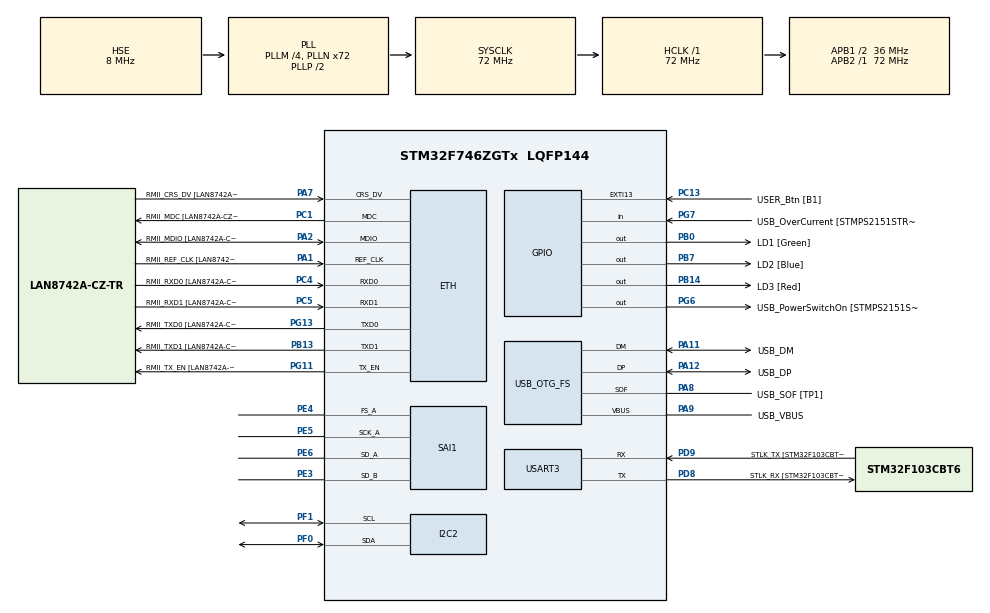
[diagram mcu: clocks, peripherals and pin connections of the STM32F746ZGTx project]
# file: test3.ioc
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ETH.MediaInterface=HAL_ETH_RMII_MODE
ETH.PHY_Name=LAN8742A_PHY_ADDRESS
ETH.PHY_Value=0
ETH.PhyAddress=0
I2C2.Timing=0x00808CD2
Mcu.Family=STM32F7
Mcu.Name=STM32F746ZGTx
Mcu.Package=LQFP144
NVIC.PriorityGroup=NVIC_PRIORITYGROUP_4
PA1.GPIO_Label=RMII_REF_CLK [LAN8742A-CZ-TR_REFCLK0]
PA1.Mode=RMII
PA1.Signal=ETH_REF_CLK
PA10.GPIO_Label=USB_ID
PA10.Signal=USB_OTG_FS_ID
PA11.GPIO_Label=USB_DM
PA11.Mode=Device_Only
PA11.Signal=USB_OTG_FS_DM
PA12.GPIO_Label=USB_DP
PA12.Mode=Device_Only
PA12.Signal=USB_OTG_FS_DP
PA13.GPIO_Label=TMS
PA13.Mode=Serial_Wire
PA13.Signal=SYS_JTMS-SWDIO
PA14.GPIO_Label=TCK
PA14.Mode=Serial_Wire
PA14.Signal=SYS_JTCK-SWCLK
PA2.GPIO_Label=RMII_MDIO [LAN8742A-CZ-TR_MDIO]
PA2.Mode=RMII
PA2.Signal=ETH_MDIO
PA7.GPIO_Label=RMII_CRS_DV [LAN8742A-CZ-TR_CRS_DV]
PA7.Mode=RMII
PA7.Signal=ETH_CRS_DV
PA8.GPIO_Label=USB_SOF [TP1]
PA8.Mode=Activate_SOF_FS
PA8.Signal=USB_OTG_FS_SOF
PA9.GPIO_Label=USB_VBUS
PA9.Mode=Activate_VBUS
PA9.Signal=USB_OTG_FS_VBUS
PB0.GPIO_Label=LD1 [Green]
PB0.Signal=GPIO_Output
PB13.GPIO_Label=RMII_TXD1 [LAN8742A-CZ-TR_TXD1]
PB13.Mode=RMII
PB13.Signal=ETH_TXD1
PB14.GPIO_Label=LD3 [Red]
PB14.Signal=GPIO_Output
PB3.GPIO_Label=SW0
PB3.Signal=SYS_JTDO-SWO
PB7.GPIO_Label=LD2 [Blue]
PB7.Signal=GPIO_Output
PC1.GPIO_Label=RMII_MDC [LAN8742A-CZ-TR_MDC]
PC1.Mode=RMII
PC1.Signal=ETH_MDC
PC13.GPIO_Label=USER_Btn [B1]
PC13.Signal=GPXTI13
PC14/OSC32_IN.Mode=LSE-External-Oscillator
PC14/OSC32_IN.Signal=RCC_OSC32_IN
PC15/OSC32_OUT.Mode=LSE-External-Oscillator
PC15/OSC32_OUT.Signal=RCC_OSC32_OUT
PC4.GPIO_Label=RMII_RXD0 [LAN8742A-CZ-TR_RXD0]
PC4.Mode=RMII
PC4.Signal=ETH_RXD0
PC5.GPIO_Label=RMII_RXD1 [LAN8742A-CZ-TR_RXD1]
PC5.Mode=RMII
PC5.Signal=ETH_RXD1
PD8.GPIO_Label=STLK_RX [STM32F103CBT6_PA3]
PD8.GPIO_PuPd=GPIO_PULLUP
PD8.Mode=Asynchronous
PD8.Signal=USART3_TX
PD9.GPIO_Label=STLK_TX [STM32F103CBT6_PA2]
PD9.GPIO_PuPd=GPIO_PULLUP
PD9.Mode=Asynchronous
PD9.Signal=USART3_RX
PE3.Mode=SAI_B_SyncSlave
PE3.Signal=SAI1_SD_B
PE4.Mode=SAI_A_AsyncSlave
PE4.Signal=SAI1_FS_A
PE5.Mode=SAI_A_AsyncSlave
PE5.Signal=SAI1_SCK_A
PE6.Mode=SAI_A_AsyncSlave
PE6.Signal=SAI1_SD_A
PF0.Mode=I2C
PF0.Signal=I2C2_SDA
PF1.Mode=I2C
PF1.Signal=I2C2_SCL
PG11.GPIO_Label=RMII_TX_EN [LAN8742A-CZ-TR_TXEN]
PG11.Mode=RMII
PG11.Signal=ETH_TX_EN
PG13.GPIO_Label=RMII_TXD0 [LAN8742A-CZ-TR_TXD0]
PG13.Mode=RMII
PG13.Signal=ETH_TXD0
PG6.GPIO_Label=USB_PowerSwitchOn [STMPS2151STR_EN]
PG6.Signal=GPIO_Output
PG7.GPIO_Label=USB_OverCurrent [STMPS2151STR_FAULT]
PG7.Signal=GPIO_Input
PH0/OSC_IN.GPIO_Label=MCO [STM32F103CBT6_PA8]
PH0/OSC_IN.Mode=HSE-External-Clock-Source
PH0/OSC_IN.Signal=RCC_OSC_IN
PH1/OSC_OUT.Mode=HSE-External-Clock-Source
PH1/OSC_OUT.Signal=RCC_OSC_OUT
ProjectManager.HeapSize=0x200
ProjectManager.StackSize=0x400
ProjectManager.TargetToolchain=STM32CubeIDE
RCC.48MHZClocksFreq_Value=24000000
RCC.AHBFreq_Value=72000000
RCC.APB1CLKDivider=RCC_HCLK_DIV2
RCC.APB1Freq_Value=36000000
RCC.APB1TimFreq_Value=72000000
RCC.APB2Freq_Value=72000000
RCC.APB2TimFreq_Value=72000000
RCC.CortexFreq_Value=72000000
RCC.HCLKFreq_Value=72000000
RCC.HSE_VALUE=8000000
RCC.HSI_VALUE=16000000
RCC.PLLM=4
RCC.PLLMUL=RCC_PLL_MUL9
RCC.PLLN=72
RCC.PLLQ=3
RCC.PLLSAIN=196
RCC.PLLSAIQ=4
RCC.PRESCALERUSB=RCC_USBCLKSOURCE_PLL_DIV1_5
RCC.SYSCLKFreq_VALUE=72000000
RCC.SYSCLKSource=RCC_SYSCLKSOURCE_PLLCLK
RCC.SYSCLKSourceVirtual=RCC_SYSCLKSOURCE_PLLCLK
RCC.USBFreq_Value=48000000
RCC.VCOOutputFreq_Value=144000000
SAI1.AudioMode-SAI_B_SyncSlave=SAI_MODESLAVE_TX
SAI1.InitProtocol-SAI_A_AsyncSlave=Enable
SAI1.InitProtocol-SAI_B_SyncSlave=Enable
SAI1.Instance-SAI_A_AsyncSlave=SAI$Index_Block_A
SAI1.Instance-SAI_B_SyncSlave=SAI$Index_Block_B
SAI1.VirtualMode-SAI_A_AsyncSlave=VM_SLAVE
SAI1.VirtualMode-SAI_B_SyncSlave=VM_SLAVE
SAI1.VirtualProtocol-SAI_A_BASIC=VM_BASIC_PROTOCOL
SAI1.VirtualProtocol-SAI_B_BASIC=VM_BASIC_PROTOCOL
USART3.VirtualMode-Asynchronous=VM_ASYNC
USB_OTG_FS.VirtualMode=Device_Only
VP_SAI1_VP_$IpInstance_SAIA_SAI_BASIC.Mode=SAI_A_BASIC
VP_SAI1_VP_$IpInstance_SAIB_SAI_BASIC.Mode=SAI_B_BASIC
board=NUCLEO-F746ZG

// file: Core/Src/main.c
/* USER CODE BEGIN Header */
/**
  ******************************************************************************
  * @file           : main.c
  * @brief          : Main program body
  ******************************************************************************
  * @attention
  *
  * Copyright (c) 2024 STMicroelectronics.
  * All rights reserved.
  *
  * This software is licensed under terms that can be found in the LICENSE file
  * in the root directory of this software component.
  * If no LICENSE file comes with this software, it is provided AS-IS.
  *
  ******************************************************************************
  */
/* USER CODE END Header */
#include "main.h"
#include "string.h"

/* USER CODE BEGIN PD */
const uint8_t WM8731_ADDRESS             = 0x1A << 1;       // WM8731 chip address on I2C bus

const uint8_t WM8731_REG_LHPHONE_OUT     = 0x02;       // Left Channel Headphone Output Volume Control
const uint8_t WM8731_REG_RHPHONE_OUT     = 0x03;       // Right Channel Headphone Output Volume Control
const uint8_t WM8731_REG_ANALOG_PATH     = 0x04;       // Analog Audio Path Control
const uint8_t WM8731_REG_DIGITAL_PATH    = 0x05;       // Digital Audio Path
const uint8_t WM8731_REG_PDOWN_CTRL      = 0x06;       // Power Down Control Register
const uint8_t WM8731_REG_DIGITAL_IF      = 0x07;       // Digital Audio Interface Format
const uint8_t WM8731_REG_SAMPLING_CTRL   = 0x08;       // Sampling Control Register
const uint8_t WM8731_REG_ACTIVE_CTRL     = 0x09;       // Active Control
const uint8_t WM8731_REG_RESET           = 0x0F;       // Reset register

const uint16_t _WM8731_Left_hp            = 0b011111101;     // Headphone settings : -10dB output
const uint16_t _WM8731_Right_hp           = 0b011111101;     // Headphone settings : -10dB output
const uint16_t _WM8731_AnalogAudio        = 0b000010101;       // DAC Select
const uint16_t _WM8731_DigitalAudio       = 0b000000111;       // disable high pass
const uint16_t _WM8731_power              = 0b000000001;       // Disable Power down
const uint16_t _WM8731_DAIF               = 0b001000010;       // 16bit data
const uint16_t _WM8731_Sampling           = 0b000000000;       // 44100Hz
const uint16_t _WM8731_Activate           = 0b000000001;       // Module is ON
const uint16_t _WM8731_Reset              = 0b000000000;       // Reset value
/* USER CODE END PD */

#if defined ( __ICCARM__ ) /*!< IAR Compiler */
#pragma location=0x2004c000
ETH_DMADescTypeDef  DMARxDscrTab[ETH_RX_DESC_CNT]; /* Ethernet Rx DMA Descriptors */
#pragma location=0x2004c0a0
ETH_DMADescTypeDef  DMATxDscrTab[ETH_TX_DESC_CNT]; /* Ethernet Tx DMA Descriptors */

#elif defined ( __CC_ARM )  /* MDK ARM Compiler */

__attribute__((at(0x2004c000))) ETH_DMADescTypeDef  DMARxDscrTab[ETH_RX_DESC_CNT]; /* Ethernet Rx DMA Descriptors */
__attribute__((at(0x2004c0a0))) ETH_DMADescTypeDef  DMATxDscrTab[ETH_TX_DESC_CNT]; /* Ethernet Tx DMA Descriptors */

#elif defined ( __GNUC__ ) /* GNU Compiler */
ETH_DMADescTypeDef DMARxDscrTab[ETH_RX_DESC_CNT] __attribute__((section(".RxDecripSection"))); /* Ethernet Rx DMA Descriptors */
ETH_DMADescTypeDef DMATxDscrTab[ETH_TX_DESC_CNT] __attribute__((section(".TxDecripSection")));   /* Ethernet Tx DMA Descriptors */

#endif

ETH_TxPacketConfig TxConfig;

ETH_HandleTypeDef heth;

I2C_HandleTypeDef hi2c2;

SAI_HandleTypeDef hsai_BlockA1;
SAI_HandleTypeDef hsai_BlockB1;

UART_HandleTypeDef huart3;

PCD_HandleTypeDef hpcd_USB_OTG_FS;

void SystemClock_Config(void);
void PeriphCommonClock_Config(void);
static void MX_GPIO_Init(void);
static void MX_ETH_Init(void);
static void MX_USART3_UART_Init(void);
static void MX_USB_OTG_FS_PCD_Init(void);
static void MX_I2C2_Init(void);
static void MX_SAI1_Init(void);
/* USER CODE BEGIN PFP */
void WM8731I2CCommand(uint8_t reg, uint16_t cmd);
/* USER CODE END PFP */

int main(void)
{

  /* MCU Configuration--------------------------------------------------------*/

  /* Reset of all peripherals, Initializes the Flash interface and the Systick. */
  HAL_Init();

  /* Configure the system clock */
  SystemClock_Config();

/* Configure the peripherals common clocks */
  PeriphCommonClock_Config();

  /* Initialize all configured peripherals */
  MX_GPIO_Init();
  MX_ETH_Init();
  MX_USART3_UART_Init();
  MX_USB_OTG_FS_PCD_Init();
  MX_I2C2_Init();
  MX_SAI1_Init();
  /* USER CODE BEGIN 2 */
  WM8731I2CCommand(WM8731_REG_RESET, _WM8731_Reset);
  WM8731I2CCommand(WM8731_REG_LHPHONE_OUT, _WM8731_Left_hp);
  WM8731I2CCommand(WM8731_REG_RHPHONE_OUT, _WM8731_Right_hp);
  WM8731I2CCommand(WM8731_REG_ANALOG_PATH, _WM8731_AnalogAudio);
  WM8731I2CCommand(WM8731_REG_DIGITAL_PATH, _WM8731_DigitalAudio);
  WM8731I2CCommand(WM8731_REG_PDOWN_CTRL, _WM8731_power);
  WM8731I2CCommand(WM8731_REG_DIGITAL_IF, _WM8731_DAIF);
  //WM8731I2CCommand(WM8731_REG_SAMPLING_CTRL, _WM8731_Sampling);
  WM8731I2CCommand(WM8731_REG_ACTIVE_CTRL, _WM8731_Activate);

  int16_t audio_in[2];
  int16_t audio_out[2];
  //uint16_t temp = 500;
  //int count = 0;
  /* USER CODE END 2 */

  /* Infinite loop */
  while (1)
  {

    /* USER CODE BEGIN 3 */
	HAL_SAI_Receive(&hsai_BlockA1, (uint8_t *) audio_in, 2, 1000);

	//if (audio_in[0])
	audio_out[0] = audio_in[0];
	audio_out[1] = audio_in[1];
	//temp = 0;
	//if (audio_in[0] > 5000) temp = 500;
	//audio_out[0] = temp;
	//audio_out[1] = temp;

	HAL_SAI_Transmit(&hsai_BlockB1, (uint8_t *) audio_out, 2, 1000);

	//count++;

  }
  /* USER CODE END 3 */
}

void SystemClock_Config(void)
{
  RCC_OscInitTypeDef RCC_OscInitStruct = {0};
  RCC_ClkInitTypeDef RCC_ClkInitStruct = {0};

  /** Configure LSE Drive Capability
  */
  HAL_PWR_EnableBkUpAccess();

  /** Configure the main internal regulator output voltage
  */
  __HAL_RCC_PWR_CLK_ENABLE();
  __HAL_PWR_VOLTAGESCALING_CONFIG(PWR_REGULATOR_VOLTAGE_SCALE3);

  /** Initializes the RCC Oscillators according to the specified parameters
  * in the RCC_OscInitTypeDef structure.
  */
  RCC_OscInitStruct.OscillatorType = RCC_OSCILLATORTYPE_HSE;
  RCC_OscInitStruct.HSEState = RCC_HSE_BYPASS;
  RCC_OscInitStruct.PLL.PLLState = RCC_PLL_ON;
  RCC_OscInitStruct.PLL.PLLSource = RCC_PLLSOURCE_HSE;
  RCC_OscInitStruct.PLL.PLLM = 4;
  RCC_OscInitStruct.PLL.PLLN = 72;
  RCC_OscInitStruct.PLL.PLLP = RCC_PLLP_DIV2;
  RCC_OscInitStruct.PLL.PLLQ = 3;
  if (HAL_RCC_OscConfig(&RCC_OscInitStruct) != HAL_OK)
  {
    Error_Handler();
  }

  /** Initializes the CPU, AHB and APB buses clocks
  */
  RCC_ClkInitStruct.ClockType = RCC_CLOCKTYPE_HCLK|RCC_CLOCKTYPE_SYSCLK
                              |RCC_CLOCKTYPE_PCLK1|RCC_CLOCKTYPE_PCLK2;
  RCC_ClkInitStruct.SYSCLKSource = RCC_SYSCLKSOURCE_PLLCLK;
  RCC_ClkInitStruct.AHBCLKDivider = RCC_SYSCLK_DIV1;
  RCC_ClkInitStruct.APB1CLKDivider = RCC_HCLK_DIV2;
  RCC_ClkInitStruct.APB2CLKDivider = RCC_HCLK_DIV1;

  if (HAL_RCC_ClockConfig(&RCC_ClkInitStruct, FLASH_LATENCY_2) != HAL_OK)
  {
    Error_Handler();
  }
}

void PeriphCommonClock_Config(void)
{
  RCC_PeriphCLKInitTypeDef PeriphClkInitStruct = {0};

  /** Initializes the peripherals clock
  */
  PeriphClkInitStruct.PeriphClockSelection = RCC_PERIPHCLK_SAI1|RCC_PERIPHCLK_CLK48;
  PeriphClkInitStruct.PLLSAI.PLLSAIN = 196;
  PeriphClkInitStruct.PLLSAI.PLLSAIR = 2;
  PeriphClkInitStruct.PLLSAI.PLLSAIQ = 4;
  PeriphClkInitStruct.PLLSAI.PLLSAIP = RCC_PLLSAIP_DIV2;
  PeriphClkInitStruct.PLLSAIDivQ = 1;
  PeriphClkInitStruct.PLLSAIDivR = RCC_PLLSAIDIVR_2;
  PeriphClkInitStruct.Sai1ClockSelection = RCC_SAI1CLKSOURCE_PLLSAI;
  if (HAL_RCCEx_PeriphCLKConfig(&PeriphClkInitStruct) != HAL_OK)
  {
    Error_Handler();
  }
}

static void MX_ETH_Init(void)
{

   static uint8_t MACAddr[6];

  heth.Instance = ETH;
  MACAddr[0] = 0x00;
  MACAddr[1] = 0x80;
  MACAddr[2] = 0xE1;
  MACAddr[3] = 0x00;
  MACAddr[4] = 0x00;
  MACAddr[5] = 0x00;
  heth.Init.MACAddr = &MACAddr[0];
  heth.Init.MediaInterface = HAL_ETH_RMII_MODE;
  heth.Init.TxDesc = DMATxDscrTab;
  heth.Init.RxDesc = DMARxDscrTab;
  heth.Init.RxBuffLen = 1524;

  if (HAL_ETH_Init(&heth) != HAL_OK)
  {
    Error_Handler();
  }

  memset(&TxConfig, 0 , sizeof(ETH_TxPacketConfig));
  TxConfig.Attributes = ETH_TX_PACKETS_FEATURES_CSUM | ETH_TX_PACKETS_FEATURES_CRCPAD;
  TxConfig.ChecksumCtrl = ETH_CHECKSUM_IPHDR_PAYLOAD_INSERT_PHDR_CALC;
  TxConfig.CRCPadCtrl = ETH_CRC_PAD_INSERT;

}

static void MX_I2C2_Init(void)
{

  hi2c2.Instance = I2C2;
  hi2c2.Init.Timing = 0x00808CD2;
  hi2c2.Init.OwnAddress1 = 0;
  hi2c2.Init.AddressingMode = I2C_ADDRESSINGMODE_7BIT;
  hi2c2.Init.DualAddressMode = I2C_DUALADDRESS_DISABLE;
  hi2c2.Init.OwnAddress2 = 0;
  hi2c2.Init.OwnAddress2Masks = I2C_OA2_NOMASK;
  hi2c2.Init.GeneralCallMode = I2C_GENERALCALL_DISABLE;
  hi2c2.Init.NoStretchMode = I2C_NOSTRETCH_DISABLE;
  if (HAL_I2C_Init(&hi2c2) != HAL_OK)
  {
    Error_Handler();
  }

  /** Configure Analogue filter
  */
  if (HAL_I2CEx_ConfigAnalogFilter(&hi2c2, I2C_ANALOGFILTER_ENABLE) != HAL_OK)
  {
    Error_Handler();
  }

  /** Configure Digital filter
  */
  if (HAL_I2CEx_ConfigDigitalFilter(&hi2c2, 0) != HAL_OK)
  {
    Error_Handler();
  }

}

static void MX_SAI1_Init(void)
{

  hsai_BlockA1.Instance = SAI1_Block_A;
  hsai_BlockA1.Init.AudioMode = SAI_MODESLAVE_RX;
  hsai_BlockA1.Init.Synchro = SAI_ASYNCHRONOUS;
  hsai_BlockA1.Init.OutputDrive = SAI_OUTPUTDRIVE_DISABLE;
  hsai_BlockA1.Init.FIFOThreshold = SAI_FIFOTHRESHOLD_EMPTY;
  hsai_BlockA1.Init.SynchroExt = SAI_SYNCEXT_DISABLE;
  hsai_BlockA1.Init.MonoStereoMode = SAI_STEREOMODE;
  hsai_BlockA1.Init.CompandingMode = SAI_NOCOMPANDING;
  hsai_BlockA1.Init.TriState = SAI_OUTPUT_NOTRELEASED;
  if (HAL_SAI_InitProtocol(&hsai_BlockA1, SAI_I2S_STANDARD, SAI_PROTOCOL_DATASIZE_16BIT, 2) != HAL_OK)
  {
    Error_Handler();
  }
  hsai_BlockB1.Instance = SAI1_Block_B;
  hsai_BlockB1.Init.AudioMode = SAI_MODESLAVE_TX;
  hsai_BlockB1.Init.Synchro = SAI_SYNCHRONOUS;
  hsai_BlockB1.Init.OutputDrive = SAI_OUTPUTDRIVE_DISABLE;
  hsai_BlockB1.Init.FIFOThreshold = SAI_FIFOTHRESHOLD_EMPTY;
  hsai_BlockB1.Init.SynchroExt = SAI_SYNCEXT_DISABLE;
  hsai_BlockB1.Init.MonoStereoMode = SAI_STEREOMODE;
  hsai_BlockB1.Init.CompandingMode = SAI_NOCOMPANDING;
  hsai_BlockB1.Init.TriState = SAI_OUTPUT_NOTRELEASED;
  if (HAL_SAI_InitProtocol(&hsai_BlockB1, SAI_I2S_STANDARD, SAI_PROTOCOL_DATASIZE_16BIT, 2) != HAL_OK)
  {
    Error_Handler();
  }

}

static void MX_USART3_UART_Init(void)
{

  huart3.Instance = USART3;
  huart3.Init.BaudRate = 115200;
  huart3.Init.WordLength = UART_WORDLENGTH_8B;
  huart3.Init.StopBits = UART_STOPBITS_1;
  huart3.Init.Parity = UART_PARITY_NONE;
  huart3.Init.Mode = UART_MODE_TX_RX;
  huart3.Init.HwFlowCtl = UART_HWCONTROL_NONE;
  huart3.Init.OverSampling = UART_OVERSAMPLING_16;
  huart3.Init.OneBitSampling = UART_ONE_BIT_SAMPLE_DISABLE;
  huart3.AdvancedInit.AdvFeatureInit = UART_ADVFEATURE_NO_INIT;
  if (HAL_UART_Init(&huart3) != HAL_OK)
  {
    Error_Handler();
  }

}

static void MX_USB_OTG_FS_PCD_Init(void)
{

  hpcd_USB_OTG_FS.Instance = USB_OTG_FS;
  hpcd_USB_OTG_FS.Init.dev_endpoints = 6;
  hpcd_USB_OTG_FS.Init.speed = PCD_SPEED_FULL;
  hpcd_USB_OTG_FS.Init.dma_enable = DISABLE;
  hpcd_USB_OTG_FS.Init.phy_itface = PCD_PHY_EMBEDDED;
  hpcd_USB_OTG_FS.Init.Sof_enable = ENABLE;
  hpcd_USB_OTG_FS.Init.low_power_enable = DISABLE;
  hpcd_USB_OTG_FS.Init.lpm_enable = DISABLE;
  hpcd_USB_OTG_FS.Init.vbus_sensing_enable = ENABLE;
  hpcd_USB_OTG_FS.Init.use_dedicated_ep1 = DISABLE;
  if (HAL_PCD_Init(&hpcd_USB_OTG_FS) != HAL_OK)
  {
    Error_Handler();
  }

}

static void MX_GPIO_Init(void)
{
  GPIO_InitTypeDef GPIO_InitStruct = {0};

  /* GPIO Ports Clock Enable */
  __HAL_RCC_GPIOE_CLK_ENABLE();
  __HAL_RCC_GPIOC_CLK_ENABLE();
  __HAL_RCC_GPIOF_CLK_ENABLE();
  __HAL_RCC_GPIOH_CLK_ENABLE();
  __HAL_RCC_GPIOA_CLK_ENABLE();
  __HAL_RCC_GPIOB_CLK_ENABLE();
  __HAL_RCC_GPIOD_CLK_ENABLE();
  __HAL_RCC_GPIOG_CLK_ENABLE();

  /*Configure GPIO pin Output Level */
  HAL_GPIO_WritePin(GPIOB, LD1_Pin|LD3_Pin|LD2_Pin, GPIO_PIN_RESET);

  /*Configure GPIO pin Output Level */
  HAL_GPIO_WritePin(USB_PowerSwitchOn_GPIO_Port, USB_PowerSwitchOn_Pin, GPIO_PIN_RESET);

  /*Configure GPIO pin : USER_Btn_Pin */
  GPIO_InitStruct.Pin = USER_Btn_Pin;
  GPIO_InitStruct.Mode = GPIO_MODE_IT_RISING;
  GPIO_InitStruct.Pull = GPIO_NOPULL;
  HAL_GPIO_Init(USER_Btn_GPIO_Port, &GPIO_InitStruct);

  /*Configure GPIO pins : LD1_Pin LD3_Pin LD2_Pin */
  GPIO_InitStruct.Pin = LD1_Pin|LD3_Pin|LD2_Pin;
  GPIO_InitStruct.Mode = GPIO_MODE_OUTPUT_PP;
  GPIO_InitStruct.Pull = GPIO_NOPULL;
  GPIO_InitStruct.Speed = GPIO_SPEED_FREQ_LOW;
  HAL_GPIO_Init(GPIOB, &GPIO_InitStruct);

  /*Configure GPIO pin : USB_PowerSwitchOn_Pin */
  GPIO_InitStruct.Pin = USB_PowerSwitchOn_Pin;
  GPIO_InitStruct.Mode = GPIO_MODE_OUTPUT_PP;
  GPIO_InitStruct.Pull = GPIO_NOPULL;
  GPIO_InitStruct.Speed = GPIO_SPEED_FREQ_LOW;
  HAL_GPIO_Init(USB_PowerSwitchOn_GPIO_Port, &GPIO_InitStruct);

  /*Configure GPIO pin : USB_OverCurrent_Pin */
  GPIO_InitStruct.Pin = USB_OverCurrent_Pin;
  GPIO_InitStruct.Mode = GPIO_MODE_INPUT;
  GPIO_InitStruct.Pull = GPIO_NOPULL;
  HAL_GPIO_Init(USB_OverCurrent_GPIO_Port, &GPIO_InitStruct);

}

/* USER CODE BEGIN 4 */
void WM8731I2CCommand(uint8_t reg, uint16_t cmd) {
  //addresses are 7 bits, but 8 bits are transmitted each time in I2C, so shift address left. LSB should be MSB of register value
  uint8_t buff[2];
  buff[0] = (reg << 1) | (cmd >> 8);
  buff[1] = (uint8_t) cmd;

  if (HAL_I2C_Master_Transmit(&hi2c2, WM8731_ADDRESS, buff, 2, HAL_MAX_DELAY) != HAL_OK) {
	  Error_Handler();
  }
}
/* USER CODE END 4 */

void Error_Handler(void)
{
  __disable_irq();
  while (1)
  {
  }
}
